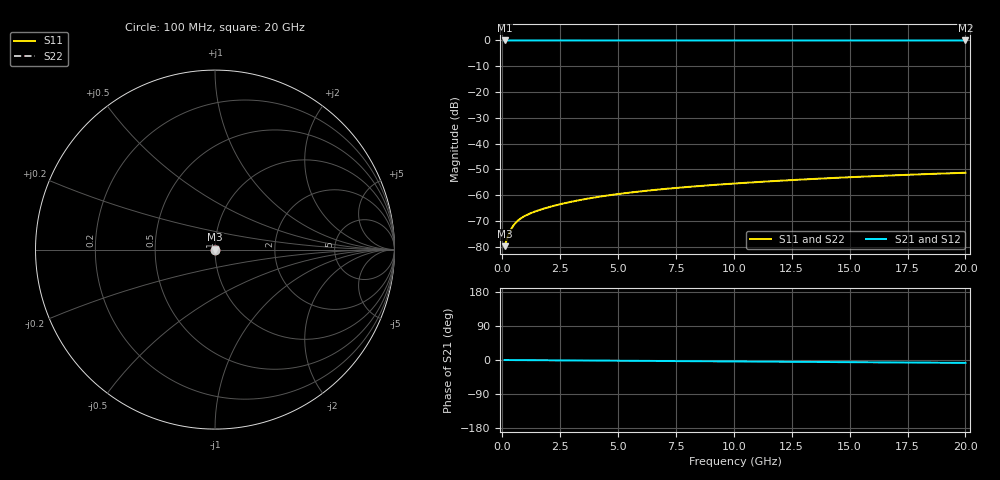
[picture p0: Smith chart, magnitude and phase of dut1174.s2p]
! Touchstone file exported from HFSS 2026.1.0
!  File:  C:/ffzhzh/LocalFiles/Ansys_Project_Files/temp_train_TSV_1174_1783192057_55132.aedt
!  Generated:  03:09:01 AM Jul  5, 2026
!  Design:  TSV
!  Project:  temp_train_TSV_1174_1783192057_55132
! Variables:
!  h_bsmrdl = 2um
!  h_ox = 20um
!  h_rdl = 5um
!  h_sub = 74.18um
!  h_tmrdl = 5um
!  h_tsv = 74.18um
!  h_via = 3um
!  l_bsmrdl = 300um
!  l_sub = 424.68um
!  l_tmrdl = 200um
!  m_sub = 200um
!  pitch = 50.22um
!  r_tsv = 12.34um
!  s_tmrdl = 10um
!  w_bsmrdl = 18um
!  w_sub = 500um
!  w_tmrdl = 12um
!  x_tsv_center1 = 206um
!  x_tsv_center2 = 524um
!  x_tsv_center3 = 736um
!  x_tsv_center4 = 1054um
!  x_tsv_center5 = 1266um
!  x_tsv_center6 = 1584um
# GHz S MA R 50.000000
! Terminal data exported
! Port[1] = TSV1_1_T1
! Port[2] = TSV1_1_T2
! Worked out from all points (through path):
!   200 points, 100 MHz to 20 GHz, reference 50 ohm
!   highest |S21| = 0.00 dB at 100 MHz (marker M1); lowest = 0.0 dB at 20 GHz (marker M2)
!   group delay of S21, straight-line fit = 1.06 ps
!   lowest |S11| = -79.8 dB at 100 MHz (marker M3), VSWR 1.00, Z = 50 + j0.00511 ohm
!   |S11| at or under -10 dB: start of sweep to end of sweep
!   |S22| runs from -79.8 to -51.3 dB; largest |S21 - S12| = 4e-15
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0.1  0.0001018 30.1  0.9999 -0.0  0.9999 -0.0  0.0001018 30.1
! Gamma 0 0 0 0
! Port Impedance 50 0 50 0
0.2  0.0001408 44.7  0.9999 -0.1  0.9999 -0.1  0.0001408 44.7
0.3  0.0001842 50.3  0.9999 -0.1  0.9999 -0.1  0.0001842 50.3
0.4  0.0002257 52.2  0.9999 -0.2  0.9999 -0.2  0.0002257 52.2
0.5  0.0002632 52.6  0.9998 -0.2  0.9998 -0.2  0.0002632 52.6
0.6  0.0002966 52.5  0.9998 -0.2  0.9998 -0.2  0.0002966 52.5
0.7  0.0003262 52.2  0.9998 -0.3  0.9998 -0.3  0.0003262 52.2
0.9  0.0003768 51.8  0.9998 -0.4  0.9998 -0.4  0.0003768 51.8
1.1  0.0004196 51.7  0.9997 -0.4  0.9997 -0.4  0.0004196 51.7
1.3  0.000458 52.0  0.9997 -0.5  0.9997 -0.5  0.000458 52.0
1.9  0.0005628 53.7  0.9997 -0.7  0.9997 -0.7  0.0005628 53.7
2.7  0.0006955 55.8  0.9996 -1.0  0.9996 -1.0  0.0006955 55.8
3.5  0.0008233 57.2  0.9996 -1.3  0.9996 -1.3  0.0008233 57.2
4.2  0.00093 57.9  0.9995 -1.6  0.9995 -1.6  0.00093 57.9
5  0.001046 58.5  0.9995 -1.9  0.9995 -1.9  0.001046 58.5
5.9  0.001169 58.9  0.9994 -2.3  0.9994 -2.3  0.001169 58.9
6.8  0.001286 59.2  0.9994 -2.6  0.9994 -2.6  0.001286 59.2
8.3  0.001472 59.7  0.9993 -3.2  0.9993 -3.2  0.001472 59.7
10.1  0.001683 60.1  0.9993 -3.9  0.9993 -3.9  0.001683 60.1
13.4  0.00205 60.4  0.9992 -5.1  0.9992 -5.1  0.00205 60.4
16.7  0.002393 60.2  0.9991 -6.4  0.9991 -6.4  0.002393 60.2
20  0.002709 59.7  0.9989 -7.6  0.9989 -7.6  0.002708 59.7
